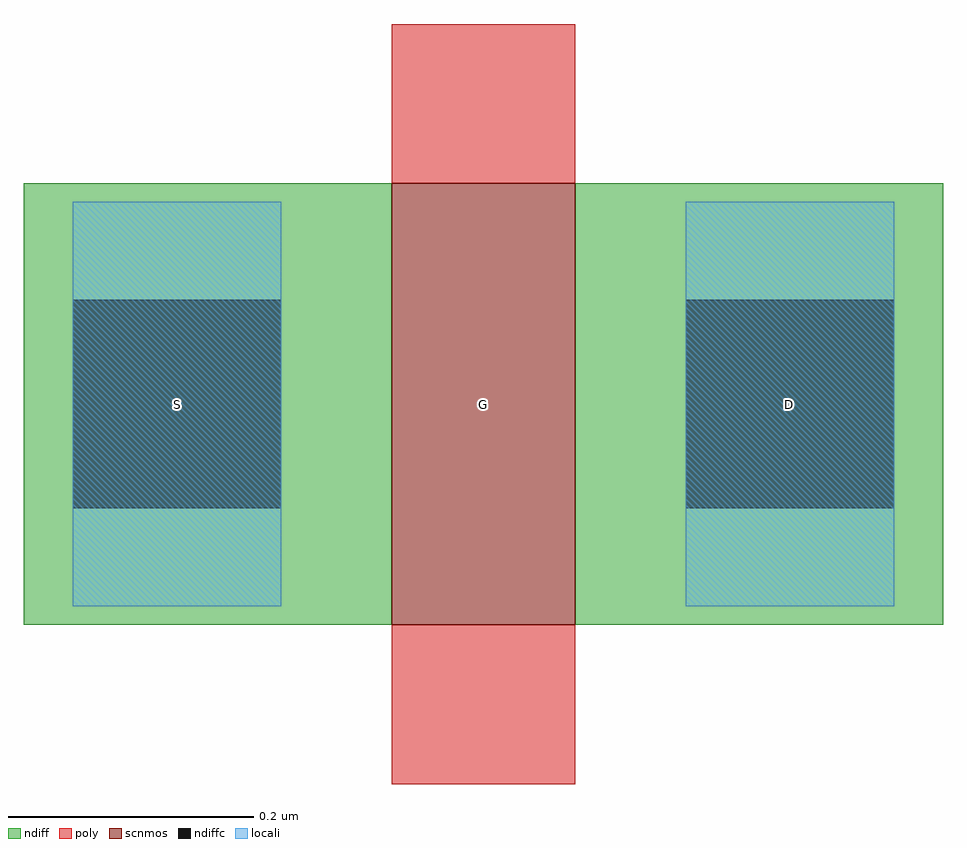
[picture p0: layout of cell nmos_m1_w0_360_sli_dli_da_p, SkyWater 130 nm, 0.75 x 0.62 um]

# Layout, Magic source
magic
tech sky130A
magscale 1 2
<< scnmos >>
rect 60 0 90 72
<< ndiff >>
rect 0 0 60 72
rect 90 0 150 72
<< poly >>
rect 60 72 90 98
rect 60 -26 90 0
<< locali >>
rect 8 3 42 69
rect 108 3 142 69
use contact_17  contact_17_0
transform 1 0 100 0 1 3
box 0 0 50 66
use contact_17  contact_17_1
transform 1 0 0 0 1 3
box 0 0 50 66
<< labels >>
rlabel poly s 75 36 75 36 4 G
rlabel corelocali s 25 36 25 36 4 S
rlabel corelocali s 125 36 125 36 4 D
<< properties >>
string FIXED_BBOX -25 -26 175 98
<< end >>

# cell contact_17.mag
magic
tech sky130A
<< ndiff >>
rect 0 25 25 31
rect 0 8 4 25
rect 21 8 25 25
rect 0 2 25 8
<< ndiffc >>
rect 4 8 21 25
<< locali >>
rect 4 25 21 33
rect 4 0 21 8
<< properties >>
string FIXED_BBOX -12 -10 37 43
<< end >>
